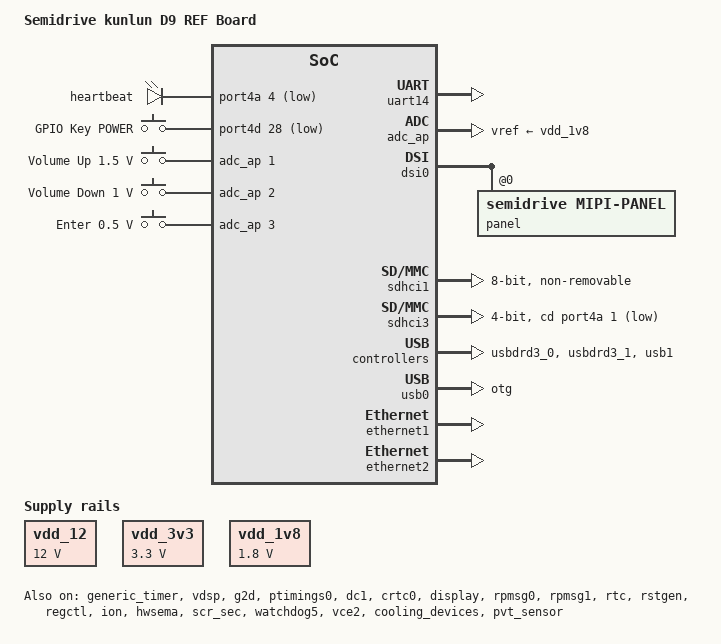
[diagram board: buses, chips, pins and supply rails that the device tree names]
/*
 * Semidrive kunlun platform DTS file
 *
 * Copyright (C) 2019, Semidrive  Communications Inc.
 *
 * This file is licensed under a dual GPLv2 or X11 license.
 */

/dts-v1/;
#include <dt-bindings/input/input.h>
#include <dt-bindings/pinctrl/pins-sdx9.h>
#include <dt-bindings/memmap/d9/projects/default/image_cfg.h>
#include <dt-bindings/memory/sdrv_ion.h>
#include <dt-bindings/rpmsg/sd,x9h-default.h>
#include "d9-std.dtsi"
#include "lcd-timings.dtsi"
#include "lcd_hsd123_serdes_mipi_1920x720.dtsi"

/ {
	model = "Semidrive kunlun D9 REF Board";

	compatible = "semidrive,kunlun";

	aliases {
		serial0 = &uart14;
		serial1 = &uart0;
		serial2 = &uart1;
		//serial3 = &uart2;//safety debug uart
		serial4 = &uart3;
		serial5 = &uart4;
		serial6 = &uart5;
		serial7 = &uart6; /* no use */
		serial8 = &uart7; /* no use */
		serial9 = &uart8;
		//serial10 = &uart9;//sec ssystem debug uart
		serial11 = &uart10;
		serial12 = &uart11;
		serial13 = &uart12;
		serial14 = &uart13;
		//serial15 = &uart14;//linux debug uart
		serial16 = &uart15;
		ethernet1 = &ethernet1;
		ethernet2 = &ethernet2;
	};

	memory@50000000 {
		device_type = "memory";
		reg = <HIGH32(AP1_KERNEL_MEMBASE-0x80000) LOW32(AP1_KERNEL_MEMBASE-0x80000) HIGH32(AP1_KERNEL_MEMSIZE) LOW32(AP1_KERNEL_MEMSIZE) \
		       0x0 (VDSP_SHARE_MEMBASE+0x4000) 0x0 (VDSP_SHARE_MEMSIZE-0x4000)>;
	};

	reserved-memory {
		#address-cells = <2>;
		#size-cells = <2>;
		ranges;

		ramoops {
			compatible = "ramoops";
			reg = <HIGH32(AP1_BOARD_RAMDISK_MEMBASE + AP1_BOARD_RAMDISK_MEMSIZE + 0x1000000)
				LOW32(AP1_BOARD_RAMDISK_MEMBASE + AP1_BOARD_RAMDISK_MEMSIZE + 0x1000000) 0x0 0x100000>;
			record-size = <0x60000>;
			console-size = <0x40000>;
			ftrace-size = <0x20000>;
			pmsg-size = <0x40000>;
		};

		/* Default Common CMA Pool */
		/* QUIRK: Must be kept in the lower 4096 MiBs of DRAM banks for VE */
		linux,cma {
			compatible = "shared-dma-pool";
			reusable;
			size = <0x0 0x40000000>; /* 1024MB */
			/* 4GB maximum in case of 32-bit only capable devices */
			alloc-ranges = <0x0 0x0 0x0 0xffffffff>;
			linux,cma-default;
		};

		rproc_0_safety: rproc@0 {
			compatible = "shared-dma-pool";
			no-map;
			reg = <0x0 RPMSG0_MEM_POOL_BASE 0x0 RPMSG0_MEM_POOL_SIZE>;
		};

		rproc_1_secure: rproc@1 {
			compatible = "shared-dma-pool";
			no-map;
			reg = <0x0 RPMSG1_MEM_POOL_BASE 0x0 RPMSG1_MEM_POOL_SIZE>;
		};

		xrp_reserved: xrp@0 {
			compatible = "shared-dma-pool";
			status = "okay";
			no-map;
			reg = <0x0 VDSP_SHARE_MEMBASE 0x0 0x4000>;
		};

		xrp_shared: xrp,shmem {
			reg = <0x0 (VDSP_SHARE_MEMBASE+0x4000) 0x0 (VDSP_SHARE_MEMSIZE-0x4000)>;
		};

	};

	chosen {
		bootargs = "skip_initramfs noinitrd root=/dev/mmcblk0p4 rootfstype=ext4 rootwait rw init=/sbin/init highres=1 earlycon loglevel=8 nr_uarts=16 console=ttyS0,115200n8 fbcon=map:1 androidboot.mode=normal androidboot.selinux=permissive androidboot.debuggable=1 androidboot.dm_verity=disable psplash=false";
		stdout-path = "serial0";
	};

	vdd_12: fixed-vdd_12 {
		compatible = "regulator-fixed";
		regulator-name = "vdd_12v";
		regulator-min-microvolt = <12000000>;
		regulator-max-microvolt = <12000000>;
	};

	vdd_3v3: fixed-vdd_3v3 {
		compatible = "regulator-fixed";
		regulator-name = "vdd_3v3";
		regulator-min-microvolt = <3300000>;
		regulator-max-microvolt = <3300000>;
	};

	vdd_1v8: fixed-vdd_1v8 {
		compatible = "regulator-fixed";
		regulator-name = "vdd_1v8";
		regulator-min-microvolt = <1800000>;
		regulator-max-microvolt = <1800000>;
	};

	leds {
		compatible = "gpio-leds";

		led0: heartbeat {
			label = "heartbeat";
			gpios = <&port4a 4 GPIO_ACTIVE_LOW> ;//sch-part-D6<->gpio_a4
			default-state = "on";
			linux,default-trigger = "timer";
		};
	};

	gpio-keys {
		status = "okay";
		compatible = "gpio-keys";
		autorepeat;
		up {
			label = "GPIO Key POWER";
			linux,code = <KEY_POWER>;//KEY_POWER
			gpios = <&port4d 28 GPIO_ACTIVE_LOW> ;//sch-part-J8<->gpio_H2 io124 Y7
		};
	};

	adc-keys0 {
		status = "okay";
		compatible = "adc-keys";
		io-channels = <&adc_ap 1>;
		io-channel-names = "buttons0";
		keyup-threshold-microvolt = <1800000>;

		button-up {
			label = "Volume Up";
			linux,code = <KEY_VOLUMEUP>;
			press-threshold-microvolt = <1500000>;
		};

	};

	adc-keys1 {
		status = "okay";
		compatible = "adc-keys";
		io-channels = <&adc_ap 2>;
		io-channel-names = "buttons1";
		keyup-threshold-microvolt = <1800000>;

		button-down {
			label = "Volume Down";
			linux,code = <KEY_VOLUMEDOWN>;
			press-threshold-microvolt = <1000000>;
		};

	};

	adc-keys2 {
		status = "okay";
		compatible = "adc-keys";
		io-channels = <&adc_ap 3>;
		io-channel-names = "buttons2";
		keyup-threshold-microvolt = <1800000>;

		button-enter {
			label = "Enter";
			linux,code = <KEY_ENTER>;
			press-threshold-microvolt = <500000>;
		};
	};
};

&dmac4 {
	status = "okay";
};
&dmac5 {
	status = "okay";
};
&dmac6 {
	status = "okay";
};

&afe_i2s_sc2{
//sch part u19(codec dac es4344)
	dmas = <&dmac4 X9_DMA_SLV_ID_I2S_SC3_TX>, <&dmac4 X9_DMA_SLV_ID_I2S_SC3_RX>;
	dma-names = "tx", "rx";
	status = "disabled";
};

&afe_i2s_sc3{
//sch part u20(codec adc es7243)
	dmas = <&dmac4 X9_DMA_SLV_ID_I2S_SC4_TX>, <&dmac4 X9_DMA_SLV_ID_I2S_SC4_RX>;
	dma-names = "tx", "rx";
	status = "disabled";
};

&afe_i2s_sc5{
	dmas = <&dmac4 X9_DMA_SLV_ID_I2S_SC6_TX>, <&dmac4 X9_DMA_SLV_ID_I2S_SC6_RX>;
	dma-names = "tx", "rx";
	status = "disabled";
};

&afe_i2s_sc7{
	dmas = <&dmac4 X9_DMA_SLV_ID_I2S_SC8_TX>, <&dmac4 X9_DMA_SLV_ID_I2S_SC8_RX>;
	dma-names = "tx", "rx";
	status = "disabled";
};

&csi0 {
	mbus-type = "mipi-csi2";
	pclk-sample = <1>;
	status = "disabled";
	sync = <1>;

	ports {
		csi0_stream0: port@0 {
			csi0_stream0_in: endpoint@0 {
				remote-endpoint = <&csimipi0_0_out>;
			};
		};
		csi0_stream1: port@1 {
			csi0_stream1_in: endpoint@0 {
				remote-endpoint = <&csimipi0_1_out>;
			};
		};
		csi0_stream2: port@2 {
			csi0_stream2_in: endpoint@0 {
				remote-endpoint = <&csimipi0_2_out>;
			};
		};
		csi0_stream3: port@3 {
			csi0_stream3_in: endpoint@0 {
				remote-endpoint = <&csimipi0_3_out>;
			};
		};
	};
};

&csi2 {
	mbus-type = "parallel";
	pclk-sample = <0>;
	status = "disabled";

	ports {
		csi2_stream0: port@0 {
			csi2_stream0_in: endpoint@0 {
				remote-endpoint = <&csiparalle0_out>;
			};
		};

	};
};

&csimipi0 {
	status = "disabled";
	lanerate = <72000000>;
	hsa = <10>;
	hbp = <20>;
	hsd = <0x60>;
	output-type = <0x1e>;
	sync = <1>;

	ports {
		#address-cells = <1>;
		#size-cells = <0>;

		port@0 {
			#address-cells = <1>;
			#size-cells = <0>;
			reg = <0>;
			csimipi0_0_in: endpoint@0 {
				remote-endpoint = <&mcsi0deser_to_mipi_0>;
				reg = <0>;
			};
			csimipi0_0_out: endpoint@1 {
				remote-endpoint = <&csi0_stream0_in>;
				reg = <0>;
			};
		};
		port@1 {
			#address-cells = <1>;
			#size-cells = <0>;
			reg = <1>;
			csimipi0_1_in: endpoint@0 {
				remote-endpoint = <&mcsi0deser_to_mipi_1>;
				reg = <1>;
			};
			csimipi0_1_out: endpoint@1 {
				remote-endpoint = <&csi0_stream1_in>;
				reg = <1>;
			};
		};
		port@2 {
			#address-cells = <1>;
			#size-cells = <0>;
			reg = <2>;
			csimipi0_2_in: endpoint@0 {
				remote-endpoint = <&mcsi0deser_to_mipi_2>;
				reg = <2>;
			};
			csimipi0_2_out: endpoint@1 {
				remote-endpoint = <&csi0_stream2_in>;
				reg = <2>;
			};
		};
		port@3 {
			#address-cells = <1>;
			#size-cells = <0>;
			reg = <3>;
			csimipi0_3_in: endpoint@0 {
				remote-endpoint = <&mcsi0deser_to_mipi_3>;
				reg = <3>;
			};
			csimipi0_3_out: endpoint@1 {
				remote-endpoint = <&csi0_stream3_in>;
				reg = <3>;
			};
		};
	};
};

&csiparallel0 {
	status = "disabled";
	#address-cells = <1>;
	#size-cells = <0>;

	port {
		#address-cells = <1>;
		#size-cells = <0>;
		reg = <0>;
		csiparallel0_in: endpoint@0 {
			remote-endpoint = <&dvpdeser_to_parallel>;
		};

		csiparallel0_out: endpoint@1 {
			remote-endpoint = <&csi2_stream0_in>;
		};
	};
};

&i2c2 {
//sch part U26(rtc rx-8025)
        status = "disabled";
	rx8025t: rx8025t@32 {
		compatible = "epson,rx8025";
		reg = <0x32>;
        };
};

&i2c3 {
//sch part U22(pvt sgm452t)
        status = "disabled";
	dtt@48 {
		compatible = "national,lm75a";
		reg = <0x48>;
	};
};

&i2c5 {
	status = "disabled";

};

&i2c6 {
//sch part U5(tp2850)
	status = "disabled";
};

&i2c7 {
	status = "disabled";
};

&i2c8 {
//sch part U3(N4)
	status = "disabled";

	poc_mcsi0deser: poc@0x28 {
		compatible = "max2008x,deser0_poc";
		reg = <0x28>;
	};

	mcsi0deser:mcsi0deser@7F {
		compatible = "sdrv,mcsi0_deser";
		reg = <0x7F>;
		pwdn-gpios = <&cam_gpio 2 0>;
		sync = <1>;
		addr_20086 = /bits/ 16 <0x28>;
		addr_96705 = /bits/ 16 <0x40>;
		addr_0101 = /bits/ 16 <0x5d>;

		ports {
			port@0 {
				#address-cells = <1>;
				#size-cells = <0>;

				mcsi0deser_to_mipi_0: endpoint {
					remote-endpoint = <&csimipi0_0_in>;
				};
			};
			port@1 {
				#address-cells = <1>;
				#size-cells = <0>;

				mcsi0deser_to_mipi_1: endpoint {
					remote-endpoint = <&csimipi0_1_in>;
				};
			};
			port@2 {
				#address-cells = <1>;
				#size-cells = <0>;

				mcsi0deser_to_mipi_2: endpoint {
					remote-endpoint = <&csimipi0_2_in>;
				};
			};
			port@3 {
				#address-cells = <1>;
				#size-cells = <0>;

				mcsi0deser_to_mipi_3: endpoint {
					remote-endpoint = <&csimipi0_3_in>;
				};
			};
		};
	};

	cam_gpio: gpio@20 {
		compatible = "ti,tca6408";
		reg = <0x20>;
		#gpio-cells = <2>;
		gpio-controller;
	};
};

&i2c9 {
	status = "disabled";

	dvp_deser:dvp_deser@7E {
		compatible = "sdrv,dvp_deser";
		clock-frequency = <24000000>;
		reg = <0x7E>;
		//powerdown-gpios = <&cam_gpios 11 0>;
		//gpi-gpios = <&cam_gpios 10 0>;
		pwdn-gpios = <&port4c 19 0>;
		//poc-gpios = <&cam_gpios 6 0>;
		//gpi-gpios = <&ext_gpio74 10 0>;
		port {
			#address-cells = <1>;
			#size-cells = <0>;

			dvpdeser_to_parallel: endpoint {
				remote-endpoint = <&csiparallel0_in>;
			};
		};
	};
};

&i2c10 {
//sch part U7(LT9611)
	status = "disabled";


};

&i2c11 {
//sch part cn4(lvd tp)
	status = "disabled";

	gt9271_11_j35:gt9271_11_j35@5d {
		//pinctrl-names = "default";
		//pinctrl-0 = <&pinctrl_gpiotouch_mipi>;
		compatible = "goodix,gt9271";
		irq-gpios = <&port4e 17 0>;	/*io97*/
		//reset-gpios = <&tp_gpio 2 0>;	/*index 2*/
		reg = <0x5d>;
	};
};

&i2c13 {
	status = "disabled";
};

&i2c14 {
	status = "disabled";
};

&i2c15 {
	status = "disabled";
};

&spi4 {
	status = "disabled";
};

&spi5 {
//sch core part U1502(IS62WVS5128GBL)
	status = "disabled";
};

&spi6 {
	status = "disabled";
};

&spi7 {
	status = "disabled";
};

&uart14 {
//linux debug
	dmas = <&dmac4 X9_DMA_SLV_ID_UART15_TX>, <&dmac4 X9_DMA_SLV_ID_UART15_RX>;
	dma-names = "tx", "rx";
	status = "okay";
};

&uart0 {
//xm1 --need flip
	status = "disabled";
};

&uart1 {
//rs485
//sch part u28 sit3485
	status = "disabled";
};

//&uart2 {
//saf debug uart,we not use for ever
//	status = "disabled";
//};

&uart3 {
	status = "disabled";
};

&uart4 {
	status = "disabled";
};

&uart5 {
//rs232
//sch part u29 sit3232
	status = "disabled";
};

&uart8 {
//sch part xm1 --need flip
	status = "disabled";
};

&uart9 {
//sec debug
	status = "disabled";
};

&uart10 {
	status = "disabled";
};

&uart11 {
//sch part xm7 --need flip
	status = "disabled";
};

&uart12 {
//sch part xm5 --need flip
	status = "disabled";
};

&uart13 {
//sch part xm6 --need flip
	status = "disabled";
};


&uart15 {
//sch part xm8 --need flip
	status = "disabled";
};

&generic_timer {
	status = "okay";
};

&adc_ap {
	resolution_value = <0x03>; /*ADC_6_BITS_E0 = 0x00 , ADC_8_BITS_E1 = 0x01 , ADC_10_BITS_E2 = 0x02 , ADC_12_BITS_E3 = 0x03*/
	clksrc_sel = <0x00>; /*ADC_SRC_CLK_ALT_E0 = 0x00 , ADC_SRC_CLK_PCLK_E1 = 0x01 , ADC_SRC_CLK_EXT_E2 = 0x02*/
	clk_value = <24000000>;
	use-adc-fifo;
	vref-supply = <&vdd_1v8>;
	status = "okay";
};

&vpu2 {
	resets = <&rstgen RSTGEN_MODULE_VPU2>;
	reset-names = "vpu-reset";
	status = "disabled";
};

&gpu1 {
	status = "disabled";
};

&clk_gpu2 {
	status = "disabled";
};
&vdsp {
	reg = <0x0 VDSP_SHARE_MEMBASE 0x0 0x1000>, /* DSP command queue */
	      <0x0 (VDSP_SHARE_MEMBASE+0x4000) 0x0 (VDSP_SHARE_MEMSIZE-0x4000)>, /* DSP shared memory */
	      <0x0 0x34040000 0x0 0x1000>, /* vdsp mu base address, pass to vdsp, won't map */
	      <0x0 0x38316000 0x0 0x1000>, /* scr 0x458 */
	      <0x0 0x3839e000 0x0 0x1000>, /* scr 0x678 */
	      <0x0 0x38401000 0x0 0x2000>, /* rstgen core 0 */
	      <0x0 0x38466000 0x0 0x1000>; /* rstgen module 38 */
	firmware-name = "xtensa.elf";
	firmware-entry = <VDSP_MEMBASE>;
	/*data ram0, data ram1, system ram, shared ram*/
	ranges = <0x0 0x00a00000 0x0 0x00a00000 0x0 0x00020000
		  0x0 0x00a20000 0x0 0x00a20000 0x0 0x00020000
		  0x0 VDSP_MEMBASE 0x0 VDSP_MEMBASE 0x0 VDSP_MEMSIZE
		  0x0 LOW32(AP1_KERNEL_MEMBASE-0x80000) 0x0 LOW32(AP1_KERNEL_MEMBASE-0x80000) 0x0 LOW32(0x100000000-AP1_KERNEL_MEMBASE+0x80000)
		  0x0 VDSP_SHARE_MEMBASE 0x0 VDSP_SHARE_MEMBASE 0x0 VDSP_SHARE_MEMSIZE>;
	status = "okay";
};

&g2d {
	status = "okay";
};
/*
&parallel0 {
	status = "disabled";
};
*/
&dtimings0 {
	native-mode = <&hsd_fhd1920x720>;
};

&ptimings0 {
	status = "okay";
};

&dc1 {
	status = "okay";
};

&crtc0 {
	dpc-master = <&dc1>;
	status = "okay";

	crtc0_out: port {
		crtc0_out_interface: endpoint@0 {
			remote-endpoint = <&dsi_in_crtc0>;
		};
	};
};

&dsi0 {
	status = "okay";
	panel {
		compatible = "semidrive,mipi-panel";
		#address-cells = <1>;
		#size-cells = <0>;
		reg = <0>;
		status = "okay";
		semidrive,lcd-attached = "lcd_hsd123_serdes_mipi_1920x720";
	};
};

&display {
	sdriv,crtc = <&crtc0>;
	status = "okay";
};

&pinctrl {
	reg = <0x0 0x37000000 0x0 0x10000>;
	pinctrl-names = "default";

	sdx9-evk {
		pinctrl_mshc1: mshc1grp {
		kunlun,pins = <
			X9_PINCTRL_EMMC1_CLK__MSHC1_CLK_1 		X9_PINCTRL_OPEN_DRAIN_DISABLE
			X9_PINCTRL_EMMC1_CMD__MSHC1_CMD_1		X9_PINCTRL_OPEN_DRAIN_DISABLE
			X9_PINCTRL_EMMC1_DATA0__MSHC1_DATA_0_1	X9_PINCTRL_OPEN_DRAIN_DISABLE
			X9_PINCTRL_EMMC1_DATA1__MSHC1_DATA_1_1	X9_PINCTRL_OPEN_DRAIN_DISABLE
			X9_PINCTRL_EMMC1_DATA2__MSHC1_DATA_2_1	X9_PINCTRL_OPEN_DRAIN_DISABLE
			X9_PINCTRL_EMMC1_DATA3__MSHC1_DATA_3_1	X9_PINCTRL_OPEN_DRAIN_DISABLE
			X9_PINCTRL_EMMC1_DATA4__MSHC1_DATA_4_1	X9_PINCTRL_OPEN_DRAIN_DISABLE
			X9_PINCTRL_EMMC1_DATA5__MSHC1_DATA_5_1	X9_PINCTRL_OPEN_DRAIN_DISABLE
			X9_PINCTRL_EMMC1_DATA6__MSHC1_DATA_6_1	X9_PINCTRL_OPEN_DRAIN_DISABLE
			X9_PINCTRL_EMMC1_DATA7__MSHC1_DATA_7_1	X9_PINCTRL_OPEN_DRAIN_DISABLE
			X9_PINCTRL_EMMC1_STROBE__MSHC1_STB_1		X9_PINCTRL_OPEN_DRAIN_ENABLE
			X9_PINCTRL_EMMC1_RESET_N__MSHC1_RST_N_1	X9_PINCTRL_OPEN_DRAIN_DISABLE
			>;
		};

		pinctrl_gpiotouch_lvds: touchgrp_lvds {
		kunlun,pins = <
			X9_PINCTRL_I2S_MC_SD4__GPIO_MUX2_IO80_1          0x00
			X9_PINCTRL_I2S_MC_SD5__GPIO_MUX2_IO81_1          0x00
			X9_PINCTRL_I2S_MC_SD6__GPIO_MUX2_IO82_1          0x00
			X9_PINCTRL_I2S_MC_SD7__GPIO_MUX2_IO83_1          0x00
			>;
		};
		pinctrl_gpiotouch_mipi: touchgrp_mipi {
			kunlun,pins = <
			X9_PINCTRL_EMMC2_CLK__GPIO_MUX2_IO96_1          0x00
			X9_PINCTRL_EMMC2_CMD__GPIO_MUX2_IO97_1          0x00
			>;
		};
	};
};

&gpio4 {
	//pinctrl-names = "default";
	//pinctrl-0 = <&pinctrl_gpiotouch_lvds &pinctrl_gpiotouch_mipi>;
	status = "okay";
};
&sdhci1 {
	bus-width = <8>;
	non-removable;
	no-sdio;
	no-sd;
	card-is-emmc;
	disable-wp;
	cap-mmc-highspeed;
	keep-power-in-suspend;
	mmc-ddr-1_8v;
	mmc-hs200-1_8v;
	mmc-hs400-1_8v;
	status = "okay";
};

&sdhci3 {
	#clock-cells = <1>;
	clocks = <&EMMC3>;
	clock-names = "core";
	max-frequency = <25000000>;
	cd-gpios = <&port4a 1 GPIO_ACTIVE_LOW>;//sch-part-D6<->gpio_a1 io1 Y19
	bus-width = <4>;
	no-1-8-v;
	no-mmc;
	no-sdio;
	disable-wp;
	keep-power-in-suspend;
	status = "okay";
};

&mbox {
	status = "okay";
};

&vdsp_ipc {
	status = "okay";
};

&mbox_test {
	status = "okay";
};

&rpmsg0 {
	memory-region = <&rproc_0_safety>;
	reg = <0x0 RPMSG0_MEM_HEAD_BASE 0x0 RPMSG0_MEM_HEAD_SIZE>;
	status = "okay";
};

&rpmsg1 {
	memory-region = <&rproc_1_secure>;
	reg = <0x0 RPMSG1_MEM_HEAD_BASE 0x0 RPMSG1_MEM_HEAD_SIZE>;
	status = "okay";
};

&ipcc0 {
	status = "okay";
};

&ipcc1 {
	status = "okay";
};


&rtc {
	status = "okay";
};

&usbdrd3_0 {
	status = "okay";
};

&usb3_id0 {
	id-gpios = <&port4e 3 GPIO_ACTIVE_LOW>;
};

&usb0 {
	dr_mode = "otg";
	status = "okay";
};

&usbdrd3_1 {
	status = "okay";
};

&usb1 {
	status = "okay";
};

&ethernet1 {
	snps,max_dma_cap_quirk = <32>;
	status = "okay";
};

&ethernet2 {
	status = "okay";
};

&rstgen {
	reg = <0x0 0x38467000 0x0 0x1000>,	/* vpu1 */
		<0x0 0x38468000 0x0 0x1000>,	/* vpu2 */
		<0x0 0x38490000 0x0 0x1000>,	/* gpu1 core */
		<0x0 0x38491000 0x0 0x1000>,	/* gpu1 ss */
		<0x0 0x38461000 0x0 0x1000>,	/* GIC4 */
		<0x0 0x38455000 0x0 0x1000>,	/* cpu1 core0 warm */
		<0x0 0x38456000 0x0 0x1000>,	/* cpu1 core1 warm */
		<0x0 0x38457000 0x0 0x1000>,	/* cpu1 core2 warm */
		<0x0 0x38458000 0x0 0x1000>,	/* cpu1 core3 warm */
		<0x0 0x38459000 0x0 0x1000>,	/* cpu1 core4 warm */
		<0x0 0x3845a000 0x0 0x1000>,	/* cpu1 core5 warm */
		<0x0 0x3845b000 0x0 0x1000>,	/* cpu1 scu warm */
		<0x0 0x3846d000 0x0 0x1000>,	/* cpu1 ss */
		<0x0 0x38407000 0x0 0x2000>;	/* cpu1 all core */
	rstgen_resource = <
		RSTGEN_MODULE_VPU1
		RSTGEN_MODULE_VPU2
		RSTGEN_MODULE_GPU1_CORE
		RSTGEN_MODULE_GPU1_SS
		RSTGEN_MODULE_GIC4
		RSTGEN_MODULE_CPU1_CORE0_WARM
		RSTGEN_MODULE_CPU1_CORE1_WARM
		RSTGEN_MODULE_CPU1_CORE2_WARM
		RSTGEN_MODULE_CPU1_CORE3_WARM
		RSTGEN_MODULE_CPU1_CORE4_WARM
		RSTGEN_MODULE_CPU1_CORE5_WARM
		RSTGEN_MODULE_CPU1_SCU_WARM
		RSTGEN_MODULE_CPU1_SS
		RSTGEN_CORE_CPU1_ALL
		>;
	status = "okay";
};

&regctl {
	reg = <0x0 0x38415000 0x0 0x1000>,
		<0x0 0x38418000 0x0 0x1000>,
		<0x0 0x38419000 0x0 0x1000>,
		<0x0 0x3841a000 0x0 0x1000>;
	reg-names = "SDRV_REG_REMAP",
			"SDRV_REG_BOOTREASON",
			"SDRV_REG_HWID",
			"SDRV_REG_STATUS";
	status = "okay";
};

&ion {
	status = "okay";
};

&hwsema {
	status = "okay";
};

&scr_sec {
	status = "okay";
};

&watchdog5 {
	wdt,auto-run = "false";
	status = "okay";
};

&pcie1 {
	status = "disabled";

	endpoint {
		#address-cells = <1>;
		#size-cells = <0>;
		brcmf@1 {
			reg = <1>;
			compatible = "brcm,bcm4329-fmac";
		};
        };
};

&vce2 {
	/*
	 * op-mode options:
	 * bit 0: rng enable(1) or disable(0)
	 * bit 1: ce enable(1) or disable(0)
	 */
	op-mode = <3>;
	status = "okay";
};

&cooling_devices {
	status = "okay";
};

&pvt_sensor {
	status = "okay";
};
